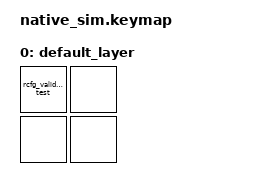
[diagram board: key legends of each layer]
#include <dt-bindings/zmk/keys.h>
#include <behaviors.dtsi>
#include <dt-bindings/zmk/kscan_mock.h>

/ {
    behaviors {
        rcfg_validate_test: rcfg_validate_test {
            compatible = "zmk,behavior-runtime-config-validate-test";
            #binding-cells = <0>;
        };
    };

    keymap {
        compatible = "zmk,keymap";

        default_layer {
            bindings = <
                &rcfg_validate_test &none
                &none               &none
            >;
        };
    };
};

&kscan {
    events = <
        ZMK_MOCK_PRESS(0,0,10)
        ZMK_MOCK_RELEASE(0,0,10)
    >;
};
